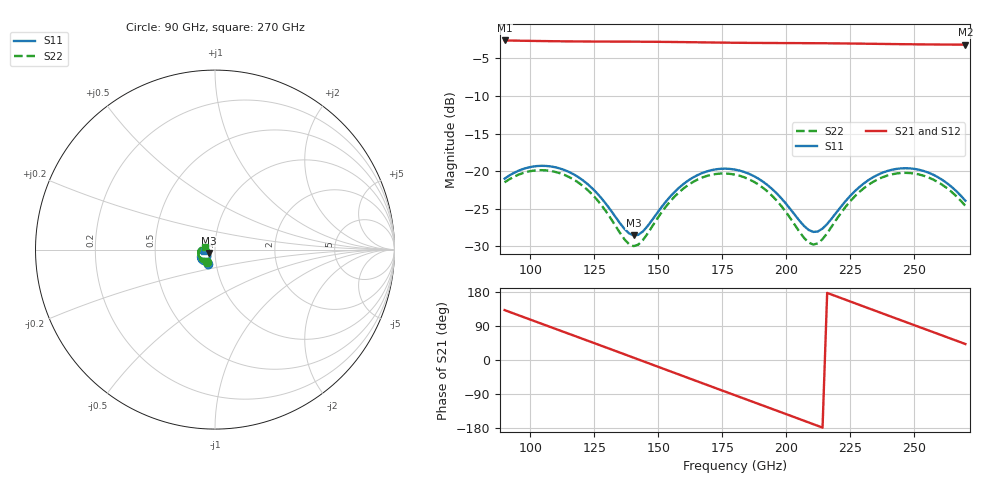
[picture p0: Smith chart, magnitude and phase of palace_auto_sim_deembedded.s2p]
! Created with skrf 1.11.0 (http://scikit-rf.org).
# GHz S DB R 50.0
!freq dBS11 angS11 dBS21 angS21 dBS12 angS12 dBS22 angS22
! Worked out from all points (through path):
!   101 points, 90 GHz to 270 GHz, reference 50 ohm
!   highest |S21| = -2.62 dB at 90 GHz (marker M1); lowest = -3.2 dB at 270 GHz (marker M2)
!   group delay of S21, straight-line fit = 6.94 ps
!   lowest |S11| = -28.6 dB at 140.4 GHz (marker M3), VSWR 1.08, Z = 46.8 - j1.75 ohm
!   |S11| at or under -10 dB: start of sweep to end of sweep
!   |S22| runs from -30.0 to -19.9 dB; largest |S21 - S12| = 8.3e-14
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90  -21.00 -117.1  -2.62 131.7  -2.62 131.7  -21.49 -122.4
97.2  -19.72 -129.2  -2.66 113.7  -2.66 113.7  -20.25 -135.5
104.4  -19.29 -142.3  -2.70 95.8  -2.70 95.8  -19.87 -149.6
111.6  -19.64 -155.2  -2.73 77.9  -2.73 77.9  -20.28 -163.5
120.6  -21.22 -169.1  -2.76 55.5  -2.76 55.5  -21.97 -178.7
131.4  -25.17 -174.9  -2.77 28.6  -2.77 28.6  -26.25 174.3
140.4  -28.55 -150.0  -2.78 6.1  -2.78 6.1  -29.97 -157.6
144  -28.02 -134.3  -2.79 -2.9  -2.79 -2.9  -29.17 -140.5
151.2  -24.83 -120.2  -2.81 -21.0  -2.81 -21.0  -25.53 -127.7
165.6  -20.49 -132.0  -2.87 -57.1  -2.87 -57.1  -21.08 -142.8
172.8  -19.74 -143.1  -2.90 -75.1  -2.90 -75.1  -20.37 -155.2
180  -19.79 -154.7  -2.93 -93.0  -2.93 -93.0  -20.46 -167.9
194.4  -22.34 -173.4  -2.96 -128.9  -2.96 -128.9  -23.24 171.0
203.4  -25.82 -172.2  -2.98 -151.4  -2.98 -151.4  -27.16 171.4
210.6  -28.08 -150.6  -2.99 -169.4  -2.99 -169.4  -29.76 -163.3
214.2  -27.64 -136.1  -3.00 -178.4  -3.00 -178.4  -29.04 -146.7
225  -23.29 -121.4  -3.03 154.5  -3.03 154.5  -24.01 -133.8
234  -20.80 -129.2  -3.07 131.9  -3.07 131.9  -21.41 -143.7
241.2  -19.82 -139.3  -3.10 113.9  -3.10 113.9  -20.43 -155.0
248.4  -19.63 -150.3  -3.13 96.0  -3.13 96.0  -20.25 -167.0
255.6  -20.20 -160.9  -3.15 78.1  -3.15 78.1  -20.84 -178.5
270  -23.93 -173.3  -3.18 42.1  -3.18 42.1  -24.62 167.7
